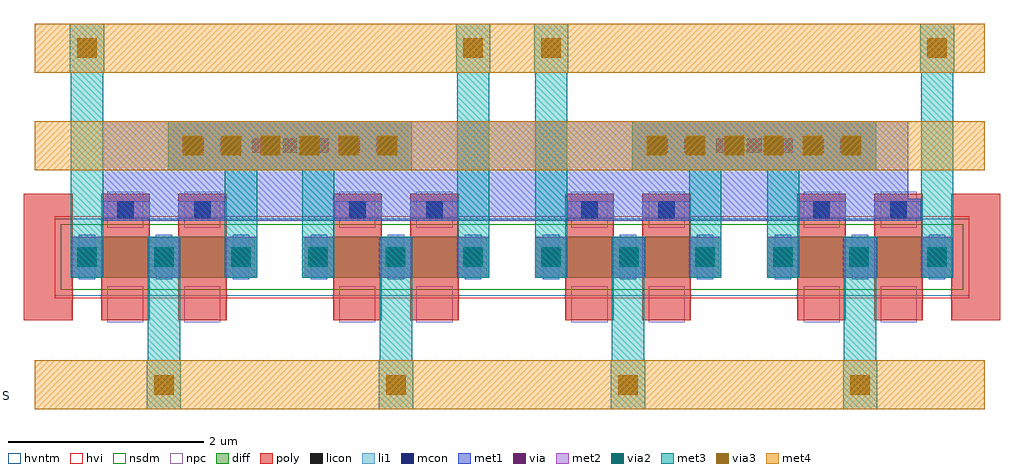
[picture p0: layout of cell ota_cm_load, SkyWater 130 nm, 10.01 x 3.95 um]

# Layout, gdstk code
import gdstk
lib = gdstk.Library(unit=1e-6, precision=1e-09)
def R(c, l, rs):  # rectangles x0, y0, x1, y1
    for r in rs: c.add(gdstk.rectangle(r[:2], r[2:], *l))
def A(c, l, x, y, w, h, nx, ny, dx, dy):  # array of equal rectangles
    R(c, l, [(x+i*dx, y+j*dy, x+i*dx+w, y+j*dy+h) for i in range(nx) for j in range(ny)])
diff = (65, 20)
poly = (66, 20)
licon = (66, 44)
li1 = (67, 20)
mcon = (67, 44)
met1 = (68, 20)
via = (68, 44)
met2 = (69, 20)
via2 = (69, 44)
met3 = (70, 20)
via3 = (70, 44)
met4 = (71, 20)
hvi = (75, 20)
nsdm = (93, 44)
npc = (95, 20)
hvntm = (125, 20)

ota_cm_load = lib.new_cell('ota_cm_load')
A(ota_cm_load, diff, 0, 0.44, 1.87, 0.42, 4, 1, 2.38, 0)
A(ota_cm_load, poly, -0.5, 0, 0.5, 1.3, 3, 1, 0.79, 0)
A(ota_cm_load, poly, 7.43, 0, 0.5, 1.3, 3, 1, 0.79, 0)
R(ota_cm_load, poly, [(2.67,0,3.17,1.3), (3.46,0,3.96,1.3), (5.05,0,5.55,1.3), (5.84,0,6.34,1.3)])
A(ota_cm_load, licon, 0.06, 0.565, 0.17, 0.17, 3, 1, 0.79, 0)
A(ota_cm_load, licon, 2.44, 0.565, 0.17, 0.17, 3, 1, 0.79, 0)
A(ota_cm_load, licon, 4.82, 0.565, 0.17, 0.17, 3, 1, 0.79, 0)
A(ota_cm_load, licon, 7.2, 0.565, 0.17, 0.17, 3, 1, 0.79, 0)
R(ota_cm_load, licon, [(0.455,1.05,0.625,1.22), (1.245,1.05,1.415,1.22), (2.835,1.05,3.005,1.22), (3.625,1.05,3.795,1.22), (5.215,1.05,5.385,1.22), (6.005,1.05,6.175,1.22), (7.595,1.05,7.765,1.22), (8.385,1.05,8.555,1.22)])
A(ota_cm_load, li1, 0.06, 0.42, 0.17, 0.46, 3, 1, 0.79, 0)
A(ota_cm_load, li1, 2.44, 0.42, 0.17, 0.46, 3, 1, 0.79, 0)
A(ota_cm_load, li1, 4.82, 0.42, 0.17, 0.46, 3, 1, 0.79, 0)
A(ota_cm_load, li1, 7.2, 0.42, 0.17, 0.46, 3, 1, 0.79, 0)
R(ota_cm_load, li1, [(0.29,1.05,0.79,1.22), (1.08,1.05,1.58,1.22), (2.67,1.05,3.17,1.22), (3.46,1.05,3.96,1.22), (5.05,1.05,5.55,1.22), (5.84,1.05,6.34,1.22), (7.43,1.05,7.93,1.22), (8.22,1.05,8.72,1.22)])
A(ota_cm_load, mcon, 0.06, 0.565, 0.17, 0.17, 3, 1, 0.79, 0)
A(ota_cm_load, mcon, 2.44, 0.565, 0.17, 0.17, 3, 1, 0.79, 0)
A(ota_cm_load, mcon, 4.82, 0.565, 0.17, 0.17, 3, 1, 0.79, 0)
A(ota_cm_load, mcon, 7.2, 0.565, 0.17, 0.17, 3, 1, 0.79, 0)
R(ota_cm_load, mcon, [(0.455,1.05,0.625,1.22), (1.245,1.05,1.415,1.22), (2.835,1.05,3.005,1.22), (3.625,1.05,3.795,1.22), (5.215,1.05,5.385,1.22), (6.005,1.05,6.175,1.22), (7.595,1.05,7.765,1.22), (8.385,1.05,8.555,1.22)])
A(ota_cm_load, met1, 5.579, 0.44, 0.23, 0.42, 3, 1, 0.001, 0)
R(ota_cm_load, met1, [(0.03,0.44,0.26,0.86), (0.03,0.44,0.26,0.86), (0.03,0.44,0.26,0.86), (0.03,0.44,0.26,0.86), (0.03,0.44,0.26,0.86), (0.819,0.44,1.049,0.86), (0.819,0.44,1.049,0.86), (0.819,0.44,1.049,0.86), (0.819,0.44,1.049,0.86), (1.61,0.44,1.84,0.86), (1.61,0.44,1.84,0.86), (2.401,0.44,2.631,0.86), (2.401,0.44,2.631,0.86), (2.401,0.44,2.631,0.86), (3.192,0.44,3.422,0.86), (3.192,0.44,3.422,0.86), (3.2,0.44,3.43,0.86), (3.2,0.44,3.43,0.86), (3.99,0.44,4.22,0.86), (3.99,0.44,4.22,0.86), (3.99,0.44,4.22,0.86), (3.99,0.44,4.22,0.86), (4.79,0.44,5.02,0.86), (4.79,0.44,5.02,0.86), (4.79,0.44,5.02,0.86), (4.79,0.44,5.02,0.86), (4.79,0.44,5.02,0.86), (5.579,0.44,5.809,0.86), (5.579,0.44,5.809,0.86), (5.59,0.44,5.82,0.86), (5.59,0.44,5.82,0.86), (5.59,0.44,5.82,0.86), (5.59,0.44,5.82,0.86), (6.37,0.44,6.6,0.86), (6.37,0.44,6.6,0.86), (6.37,0.44,6.6,0.86), (6.37,0.44,6.6,0.86), (6.37,0.44,6.6,0.86), (6.37,0.44,6.6,0.86), (7.17,0.44,7.4,0.86), (7.17,0.44,7.4,0.86), (7.17,0.44,7.4,0.86), (7.17,0.44,7.4,0.86), (7.17,0.44,7.4,0.86), (7.17,0.44,7.4,0.86), (7.17,0.44,7.4,0.86), (7.95,0.44,8.18,0.86), (7.95,0.44,8.18,0.86), (7.95,0.44,8.18,0.86), (7.95,0.44,8.18,0.86), (7.95,0.44,8.18,0.86), (7.96,0.44,8.19,0.86), (7.962,0.44,8.192,0.86), (7.97,0.44,8.2,0.86), (7.97,0.44,8.2,0.86), (7.97,0.44,8.2,0.86), (7.97,0.44,8.2,0.86), (7.97,0.44,8.2,0.86), (7.97,0.44,8.2,0.86), (8.75,0.44,8.98,0.86), (8.75,0.44,8.98,0.86), (8.75,0.44,8.98,0.86), (8.75,0.44,8.98,0.86), (8.75,0.44,8.98,0.86), (8.75,0.44,8.98,0.86), (8.75,0.44,8.98,0.86), (8.75,0.44,8.98,0.86), (0.31,1.02,8.569,2.042), (1.1,1.02,1.56,1.25), (2.69,1.02,3.15,1.25), (3.48,1.02,3.94,1.25), (5.07,1.02,5.53,1.25), (5.86,1.02,6.32,1.25), (7.45,1.02,7.91,1.25), (8.24,1.02,8.7,1.25)])
A(ota_cm_load, via, 0.86, 0.575, 0.15, 0.15, 3, 1, 0.791, 0)
A(ota_cm_load, via, 1.194, 1.717, 0.15, 0.15, 7, 1, 0.32, 0)
A(ota_cm_load, via, 5.954, 1.717, 0.15, 0.15, 7, 1, 0.32, 0)
R(ota_cm_load, via, [(0.071,0.575,0.221,0.725), (0.071,0.575,0.221,0.725), (0.071,0.575,0.221,0.725), (0.071,0.575,0.221,0.725), (0.86,0.575,1.01,0.725), (0.86,0.575,1.01,0.725), (0.86,0.575,1.01,0.725), (3.241,0.575,3.391,0.725), (4.031,0.575,4.181,0.725), (4.831,0.575,4.981,0.725), (5.622,0.575,5.772,0.725), (6.411,0.575,6.561,0.725), (7.211,0.575,7.361,0.725), (7.991,0.575,8.141,0.725), (8.791,0.575,8.941,0.725)])
A(ota_cm_load, via2, 0.835, 0.55, 0.2, 0.2, 4, 1, 0.791, 0)
A(ota_cm_load, via2, 4.006, 0.55, 0.2, 0.2, 3, 1, 0.8, 0)
A(ota_cm_load, via2, 1.129, 1.692, 0.2, 0.2, 6, 1, 0.4, 0)
A(ota_cm_load, via2, 5.889, 1.692, 0.2, 0.2, 6, 1, 0.4, 0)
R(ota_cm_load, via2, [(0.046,0.55,0.246,0.75), (0.046,0.55,0.246,0.75), (0.046,0.55,0.246,0.75), (0.046,0.55,0.246,0.75), (0.835,0.55,1.035,0.75), (0.835,0.55,1.035,0.75), (0.835,0.55,1.035,0.75), (6.386,0.55,6.586,0.75), (7.186,0.55,7.386,0.75), (7.966,0.55,8.166,0.75), (8.766,0.55,8.966,0.75)])
A(ota_cm_load, via3, 0.835, -0.76, 0.2, 0.2, 4, 1, 2.38, 0)
A(ota_cm_load, via3, 1.129, 1.692, 0.2, 0.2, 6, 1, 0.4, 0)
A(ota_cm_load, via3, 5.889, 1.692, 0.2, 0.2, 6, 1, 0.4, 0)
R(ota_cm_load, via3, [(0.835,-0.76,1.035,-0.56), (0.046,2.692,0.246,2.892), (4.006,2.692,4.206,2.892), (4.806,2.692,5.006,2.892), (8.766,2.692,8.966,2.892)])
R(ota_cm_load, hvi, [(-0.185,0.23,9.195,1.07)])
R(ota_cm_load, nsdm, [(-0.125,0.315,9.135,0.985)])
R(ota_cm_load, npc, [(0.355,-0.02,0.725,0.35), (1.145,-0.02,1.515,0.35), (2.735,-0.02,3.105,0.35), (3.525,-0.02,3.895,0.35), (5.115,-0.02,5.485,0.35), (5.905,-0.02,6.275,0.35), (7.495,-0.02,7.865,0.35), (8.285,-0.02,8.655,0.35), (0.355,0.95,0.725,1.32), (1.145,0.95,1.515,1.32), (2.735,0.95,3.105,1.32), (3.525,0.95,3.895,1.32), (5.115,0.95,5.485,1.32), (5.905,0.95,6.275,1.32), (7.495,0.95,7.865,1.32), (8.285,0.95,8.655,1.32)])
R(ota_cm_load, hvntm, [(-0.185,0.255,9.195,1.045)])
ota_cm_load.add(gdstk.FlexPath([(0.979,1.792),(3.479,1.792)], 0.5, ends="flush", simple_path=True, layer=68, datatype=20))  # met1
ota_cm_load.add(gdstk.FlexPath([(5.739,1.792),(8.239,1.792)], 0.5, ends="flush", simple_path=True, layer=68, datatype=20))  # met1
ota_cm_load.add(gdstk.FlexPath([(3.316,0.86),(3.316,0.44)], 0.33, ends="flush", simple_path=True, layer=68, datatype=20))  # met1
ota_cm_load.add(gdstk.FlexPath([(5.697,0.86),(5.697,0.44)], 0.33, ends="flush", simple_path=True, layer=68, datatype=20))  # met1
ota_cm_load.add(gdstk.FlexPath([(8.078,0.86),(8.078,0.44)], 0.33, ends="flush", simple_path=True, layer=68, datatype=20))  # met1
ota_cm_load.add(gdstk.FlexPath([(1.726,0.86),(1.726,0.44)], 0.33, ends="flush", simple_path=True, layer=68, datatype=20))  # met1
ota_cm_load.add(gdstk.FlexPath([(2.517,0.86),(2.517,0.44)], 0.33, ends="flush", simple_path=True, layer=68, datatype=20))  # met1
ota_cm_load.add(gdstk.FlexPath([(3.308,0.86),(3.308,0.44)], 0.33, ends="flush", simple_path=True, layer=68, datatype=20))  # met1
ota_cm_load.add(gdstk.FlexPath([(4.106,0.86),(4.106,0.44)], 0.33, ends="flush", simple_path=True, layer=68, datatype=20))  # met1
ota_cm_load.add(gdstk.FlexPath([(5.695,0.86),(5.695,0.44)], 0.33, ends="flush", simple_path=True, layer=68, datatype=20))  # met1
ota_cm_load.add(gdstk.FlexPath([(4.906,0.86),(4.906,0.44)], 0.33, ends="flush", simple_path=True, layer=68, datatype=20))  # met1
ota_cm_load.add(gdstk.FlexPath([(5.706,0.86),(5.706,0.44)], 0.33, ends="flush", simple_path=True, layer=68, datatype=20))  # met1
ota_cm_load.add(gdstk.FlexPath([(6.486,0.86),(6.486,0.44)], 0.33, ends="flush", simple_path=True, layer=68, datatype=20))  # met1
ota_cm_load.add(gdstk.FlexPath([(8.066,0.86),(8.066,0.44)], 0.33, ends="flush", simple_path=True, layer=68, datatype=20))  # met1
ota_cm_load.add(gdstk.FlexPath([(7.286,0.86),(7.286,0.44)], 0.33, ends="flush", simple_path=True, layer=68, datatype=20))  # met1
ota_cm_load.add(gdstk.FlexPath([(8.086,0.86),(8.086,0.44)], 0.33, ends="flush", simple_path=True, layer=68, datatype=20))  # met1
ota_cm_load.add(gdstk.FlexPath([(8.866,0.86),(8.866,0.44)], 0.33, ends="flush", simple_path=True, layer=68, datatype=20))  # met1
ota_cm_load.add(gdstk.FlexPath([(0.935,0.86),(0.935,0.44)], 0.33, ends="flush", simple_path=True, layer=68, datatype=20))  # met1
ota_cm_load.add(gdstk.FlexPath([(0.935,0.86),(0.935,0.44)], 0.33, ends="flush", simple_path=True, layer=68, datatype=20))  # met1
ota_cm_load.add(gdstk.FlexPath([(0.935,0.86),(0.935,0.44)], 0.33, ends="flush", simple_path=True, layer=68, datatype=20))  # met1
ota_cm_load.add(gdstk.FlexPath([(0.935,0.86),(0.935,0.44)], 0.33, ends="flush", simple_path=True, layer=68, datatype=20))  # met1
ota_cm_load.add(gdstk.FlexPath([(0.146,0.86),(0.146,0.44)], 0.33, ends="flush", simple_path=True, layer=68, datatype=20))  # met1
ota_cm_load.add(gdstk.FlexPath([(0.146,0.86),(0.146,0.44)], 0.33, ends="flush", simple_path=True, layer=68, datatype=20))  # met1
ota_cm_load.add(gdstk.FlexPath([(0.146,0.86),(0.146,0.44)], 0.33, ends="flush", simple_path=True, layer=68, datatype=20))  # met1
ota_cm_load.add(gdstk.FlexPath([(0.146,0.86),(0.146,0.44)], 0.33, ends="flush", simple_path=True, layer=68, datatype=20))  # met1
ota_cm_load.add(gdstk.FlexPath([(0.979,1.792),(3.479,1.792)], 0.5, ends="flush", simple_path=True, layer=69, datatype=20))  # met2
ota_cm_load.add(gdstk.FlexPath([(5.739,1.792),(8.239,1.792)], 0.5, ends="flush", simple_path=True, layer=69, datatype=20))  # met2
ota_cm_load.add(gdstk.FlexPath([(3.316,0.86),(3.316,0.44)], 0.33, ends="flush", simple_path=True, layer=69, datatype=20))  # met2
ota_cm_load.add(gdstk.FlexPath([(5.697,0.86),(5.697,0.44)], 0.33, ends="flush", simple_path=True, layer=69, datatype=20))  # met2
ota_cm_load.add(gdstk.FlexPath([(8.078,0.86),(8.078,0.44)], 0.33, ends="flush", simple_path=True, layer=69, datatype=20))  # met2
ota_cm_load.add(gdstk.FlexPath([(1.726,0.86),(1.726,0.44)], 0.33, ends="flush", simple_path=True, layer=69, datatype=20))  # met2
ota_cm_load.add(gdstk.FlexPath([(2.517,0.86),(2.517,0.44)], 0.33, ends="flush", simple_path=True, layer=69, datatype=20))  # met2
ota_cm_load.add(gdstk.FlexPath([(3.308,0.86),(3.308,0.44)], 0.33, ends="flush", simple_path=True, layer=69, datatype=20))  # met2
ota_cm_load.add(gdstk.FlexPath([(4.106,0.86),(4.106,0.44)], 0.33, ends="flush", simple_path=True, layer=69, datatype=20))  # met2
ota_cm_load.add(gdstk.FlexPath([(5.695,0.86),(5.695,0.44)], 0.33, ends="flush", simple_path=True, layer=69, datatype=20))  # met2
ota_cm_load.add(gdstk.FlexPath([(4.906,0.86),(4.906,0.44)], 0.33, ends="flush", simple_path=True, layer=69, datatype=20))  # met2
ota_cm_load.add(gdstk.FlexPath([(5.706,0.86),(5.706,0.44)], 0.33, ends="flush", simple_path=True, layer=69, datatype=20))  # met2
ota_cm_load.add(gdstk.FlexPath([(6.486,0.86),(6.486,0.44)], 0.33, ends="flush", simple_path=True, layer=69, datatype=20))  # met2
ota_cm_load.add(gdstk.FlexPath([(8.066,0.86),(8.066,0.44)], 0.33, ends="flush", simple_path=True, layer=69, datatype=20))  # met2
ota_cm_load.add(gdstk.FlexPath([(7.286,0.86),(7.286,0.44)], 0.33, ends="flush", simple_path=True, layer=69, datatype=20))  # met2
ota_cm_load.add(gdstk.FlexPath([(8.086,0.86),(8.086,0.44)], 0.33, ends="flush", simple_path=True, layer=69, datatype=20))  # met2
ota_cm_load.add(gdstk.FlexPath([(8.866,0.86),(8.866,0.44)], 0.33, ends="flush", simple_path=True, layer=69, datatype=20))  # met2
ota_cm_load.add(gdstk.FlexPath([(0.935,0.86),(0.935,0.44)], 0.33, ends="flush", simple_path=True, layer=69, datatype=20))  # met2
ota_cm_load.add(gdstk.FlexPath([(0.935,0.86),(0.935,0.44)], 0.33, ends="flush", simple_path=True, layer=69, datatype=20))  # met2
ota_cm_load.add(gdstk.FlexPath([(0.935,0.86),(0.935,0.44)], 0.33, ends="flush", simple_path=True, layer=69, datatype=20))  # met2
ota_cm_load.add(gdstk.FlexPath([(0.935,0.86),(0.935,0.44)], 0.33, ends="flush", simple_path=True, layer=69, datatype=20))  # met2
ota_cm_load.add(gdstk.FlexPath([(0.146,0.86),(0.146,0.44)], 0.33, ends="flush", simple_path=True, layer=69, datatype=20))  # met2
ota_cm_load.add(gdstk.FlexPath([(0.146,0.86),(0.146,0.44)], 0.33, ends="flush", simple_path=True, layer=69, datatype=20))  # met2
ota_cm_load.add(gdstk.FlexPath([(0.146,0.86),(0.146,0.44)], 0.33, ends="flush", simple_path=True, layer=69, datatype=20))  # met2
ota_cm_load.add(gdstk.FlexPath([(0.146,0.86),(0.146,0.44)], 0.33, ends="flush", simple_path=True, layer=69, datatype=20))  # met2
ota_cm_load.add(gdstk.FlexPath([(3.315,-0.41),(3.315,-0.91)], 0.35, ends="flush", simple_path=True, layer=70, datatype=20))  # met3
ota_cm_load.add(gdstk.FlexPath([(5.695,-0.41),(5.695,-0.91)], 0.35, ends="flush", simple_path=True, layer=70, datatype=20))  # met3
ota_cm_load.add(gdstk.FlexPath([(8.075,-0.41),(8.075,-0.91)], 0.35, ends="flush", simple_path=True, layer=70, datatype=20))  # met3
ota_cm_load.add(gdstk.FlexPath([(6.486,2.042),(6.486,1.542)], 0.35, ends="flush", simple_path=True, layer=70, datatype=20))  # met3
ota_cm_load.add(gdstk.FlexPath([(1.726,2.042),(1.726,1.542)], 0.35, ends="flush", simple_path=True, layer=70, datatype=20))  # met3
ota_cm_load.add(gdstk.FlexPath([(2.517,2.042),(2.517,1.542)], 0.35, ends="flush", simple_path=True, layer=70, datatype=20))  # met3
ota_cm_load.add(gdstk.FlexPath([(7.277,2.042),(7.277,1.542)], 0.35, ends="flush", simple_path=True, layer=70, datatype=20))  # met3
ota_cm_load.add(gdstk.FlexPath([(0.935,-0.41),(0.935,-0.91)], 0.35, ends="flush", simple_path=True, layer=70, datatype=20))  # met3
ota_cm_load.add(gdstk.FlexPath([(0.935,-0.41),(0.935,-0.91)], 0.35, ends="flush", simple_path=True, layer=70, datatype=20))  # met3
ota_cm_load.add(gdstk.FlexPath([(0.146,3.042),(0.146,2.542)], 0.35, ends="flush", simple_path=True, layer=70, datatype=20))  # met3
ota_cm_load.add(gdstk.FlexPath([(4.106,3.042),(4.106,2.542)], 0.35, ends="flush", simple_path=True, layer=70, datatype=20))  # met3
ota_cm_load.add(gdstk.FlexPath([(4.906,3.042),(4.906,2.542)], 0.35, ends="flush", simple_path=True, layer=70, datatype=20))  # met3
ota_cm_load.add(gdstk.FlexPath([(8.866,3.042),(8.866,2.542)], 0.35, ends="flush", simple_path=True, layer=70, datatype=20))  # met3
ota_cm_load.add(gdstk.FlexPath([(0.979,1.792),(3.479,1.792)], 0.5, ends="flush", simple_path=True, layer=70, datatype=20))  # met3
ota_cm_load.add(gdstk.FlexPath([(5.739,1.792),(8.239,1.792)], 0.5, ends="flush", simple_path=True, layer=70, datatype=20))  # met3
ota_cm_load.add(gdstk.FlexPath([(3.315,0.86),(3.315,-0.91)], 0.33, ends="flush", simple_path=True, layer=70, datatype=20))  # met3
ota_cm_load.add(gdstk.FlexPath([(5.695,0.86),(5.695,-0.91)], 0.33, ends="flush", simple_path=True, layer=70, datatype=20))  # met3
ota_cm_load.add(gdstk.FlexPath([(8.075,0.86),(8.075,-0.91)], 0.33, ends="flush", simple_path=True, layer=70, datatype=20))  # met3
ota_cm_load.add(gdstk.FlexPath([(1.726,2.042),(1.726,0.44)], 0.33, ends="flush", simple_path=True, layer=70, datatype=20))  # met3
ota_cm_load.add(gdstk.FlexPath([(2.517,2.042),(2.517,0.44)], 0.33, ends="flush", simple_path=True, layer=70, datatype=20))  # met3
ota_cm_load.add(gdstk.FlexPath([(3.308,0.86),(3.308,0.44)], 0.33, ends="flush", simple_path=True, layer=70, datatype=20))  # met3
ota_cm_load.add(gdstk.FlexPath([(5.695,0.86),(5.695,0.44)], 0.33, ends="flush", simple_path=True, layer=70, datatype=20))  # met3
ota_cm_load.add(gdstk.FlexPath([(4.906,3.042),(4.906,0.44)], 0.33, ends="flush", simple_path=True, layer=70, datatype=20))  # met3
ota_cm_load.add(gdstk.FlexPath([(5.706,0.86),(5.706,0.44)], 0.33, ends="flush", simple_path=True, layer=70, datatype=20))  # met3
ota_cm_load.add(gdstk.FlexPath([(6.486,2.042),(6.486,0.44)], 0.33, ends="flush", simple_path=True, layer=70, datatype=20))  # met3
ota_cm_load.add(gdstk.FlexPath([(8.066,0.86),(8.066,0.44)], 0.33, ends="flush", simple_path=True, layer=70, datatype=20))  # met3
ota_cm_load.add(gdstk.FlexPath([(7.286,2.042),(7.286,0.44)], 0.33, ends="flush", simple_path=True, layer=70, datatype=20))  # met3
ota_cm_load.add(gdstk.FlexPath([(8.086,0.86),(8.086,0.44)], 0.33, ends="flush", simple_path=True, layer=70, datatype=20))  # met3
ota_cm_load.add(gdstk.FlexPath([(8.866,3.042),(8.866,0.44)], 0.33, ends="flush", simple_path=True, layer=70, datatype=20))  # met3
ota_cm_load.add(gdstk.FlexPath([(0.935,0.86),(0.935,-0.91)], 0.33, ends="flush", simple_path=True, layer=70, datatype=20))  # met3
ota_cm_load.add(gdstk.FlexPath([(0.146,3.042),(0.146,0.44)], 0.33, ends="flush", simple_path=True, layer=70, datatype=20))  # met3
ota_cm_load.add(gdstk.FlexPath([(4.106,3.042),(4.106,0.44)], 0.33, ends="flush", simple_path=True, layer=70, datatype=20))  # met3
ota_cm_load.add(gdstk.FlexPath([(3.315,-0.41),(3.315,-0.91)], 0.35, ends="flush", simple_path=True, layer=71, datatype=20))  # met4
ota_cm_load.add(gdstk.FlexPath([(5.695,-0.41),(5.695,-0.91)], 0.35, ends="flush", simple_path=True, layer=71, datatype=20))  # met4
ota_cm_load.add(gdstk.FlexPath([(8.075,-0.41),(8.075,-0.91)], 0.35, ends="flush", simple_path=True, layer=71, datatype=20))  # met4
ota_cm_load.add(gdstk.FlexPath([(6.486,2.042),(6.486,1.542)], 0.35, ends="flush", simple_path=True, layer=71, datatype=20))  # met4
ota_cm_load.add(gdstk.FlexPath([(1.726,2.042),(1.726,1.542)], 0.35, ends="flush", simple_path=True, layer=71, datatype=20))  # met4
ota_cm_load.add(gdstk.FlexPath([(2.517,2.042),(2.517,1.542)], 0.35, ends="flush", simple_path=True, layer=71, datatype=20))  # met4
ota_cm_load.add(gdstk.FlexPath([(7.277,2.042),(7.277,1.542)], 0.35, ends="flush", simple_path=True, layer=71, datatype=20))  # met4
ota_cm_load.add(gdstk.FlexPath([(0.935,-0.41),(0.935,-0.91)], 0.35, ends="flush", simple_path=True, layer=71, datatype=20))  # met4
ota_cm_load.add(gdstk.FlexPath([(0.935,-0.41),(0.935,-0.91)], 0.35, ends="flush", simple_path=True, layer=71, datatype=20))  # met4
ota_cm_load.add(gdstk.FlexPath([(0.146,3.042),(0.146,2.542)], 0.35, ends="flush", simple_path=True, layer=71, datatype=20))  # met4
ota_cm_load.add(gdstk.FlexPath([(4.106,3.042),(4.106,2.542)], 0.35, ends="flush", simple_path=True, layer=71, datatype=20))  # met4
ota_cm_load.add(gdstk.FlexPath([(4.906,3.042),(4.906,2.542)], 0.35, ends="flush", simple_path=True, layer=71, datatype=20))  # met4
ota_cm_load.add(gdstk.FlexPath([(8.866,3.042),(8.866,2.542)], 0.35, ends="flush", simple_path=True, layer=71, datatype=20))  # met4
ota_cm_load.add(gdstk.FlexPath([(0.979,1.792),(3.479,1.792)], 0.5, ends="flush", simple_path=True, layer=71, datatype=20))  # met4
ota_cm_load.add(gdstk.FlexPath([(5.739,1.792),(8.239,1.792)], 0.5, ends="flush", simple_path=True, layer=71, datatype=20))  # met4
ota_cm_load.add(gdstk.FlexPath([(-0.391,-0.66),(9.352,-0.66)], 0.5, ends="flush", simple_path=True, layer=71, datatype=20))  # met4
ota_cm_load.add(gdstk.FlexPath([(-0.391,1.792),(9.352,1.792)], 0.5, ends="flush", simple_path=True, layer=71, datatype=20))  # met4
ota_cm_load.add(gdstk.FlexPath([(-0.391,2.792),(9.352,2.792)], 0.5, ends="flush", simple_path=True, layer=71, datatype=20))  # met4
ota_cm_load.add(gdstk.Label('M21_D', (-0.844,2.8), layer=125, texttype=20))
ota_cm_load.add(gdstk.Label('M20_D', (-1.003,1.678), layer=125, texttype=20))
ota_cm_load.add(gdstk.Label('S', (-0.735,-0.774), layer=125, texttype=20))

lib.write_gds('ota_cm_load.gds')
